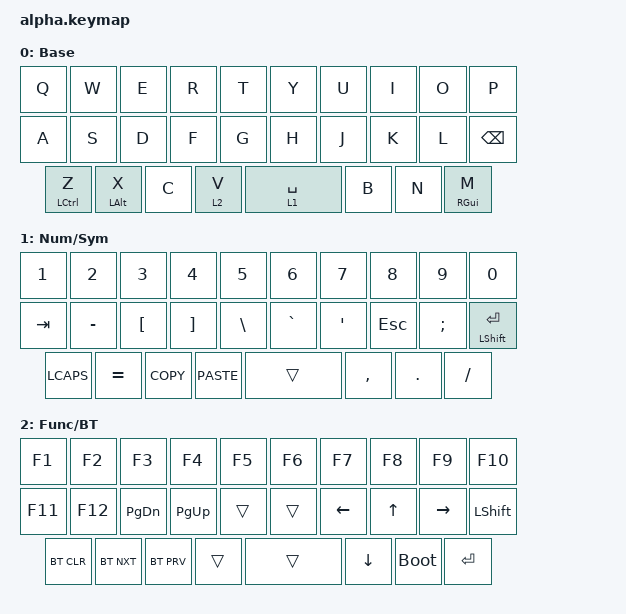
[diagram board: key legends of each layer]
#include <behaviors.dtsi>
#include <dt-bindings/zmk/keys.h>
#include <dt-bindings/zmk/bt.h>

/ {
    keymap {
        compatible = "zmk,keymap";

        // Layer 0: Alphabet and Mod-Taps
        default_layer {
            display-name = "Base";
            bindings = <
                &kp Q       &kp W       &kp E       &kp R       &kp T       &kp Y       &kp U       &kp I       &kp O       &kp P
                &kp A       &kp S       &kp D       &kp F       &kp G       &kp H       &kp J       &kp K       &kp L       &kp BSPC
                &mt LCTRL Z &mt LALT X  &kp C       &lt 2 V                 &lt 1 SPACE             &kp B       &kp N       &mt RGUI M
            >;
        };

        // Layer 1: Numbers (shiftable) and Primary Special Characters
        num_sym_layer {
            display-name = "Num/Sym";
            bindings = <
                &kp N1      &kp N2      &kp N3      &kp N4      &kp N5      &kp N6      &kp N7      &kp N8      &kp N9      &kp N0
                &kp TAB     &kp MINUS   &kp LBKT    &kp RBKT    &kp BSLH    &kp GRAVE   &kp SQT     &kp ESC     &kp SEMI    &mt LSHIFT ENTER
                &kp LCAPS   &kp EQUAL   &kp K_COPY  &kp K_PASTE             &trans                  &kp COMMA   &kp DOT     &kp SLASH
            >;
        };

        // Layer 2: Function Keys, Bluetooth Profiles, and Remaining Symbols
        func_bt_layer {
            display-name = "Func/BT";
            bindings = <
                &kp F1      &kp F2      &kp F3      &kp F4      &kp F5      &kp F6      &kp F7      &kp F8      &kp F9      &kp F10
                &kp F11     &kp F12     &kp PG_DN   &kp PG_UP   &trans      &trans      &kp LEFT    &kp UP      &kp RIGHT   &kp LSHIFT
                &bt BT_CLR  &bt BT_NXT  &bt BT_PRV  &trans                  &trans                  &kp DOWN    &bootloader &kp ENTER
            >;
        };
    };
};
